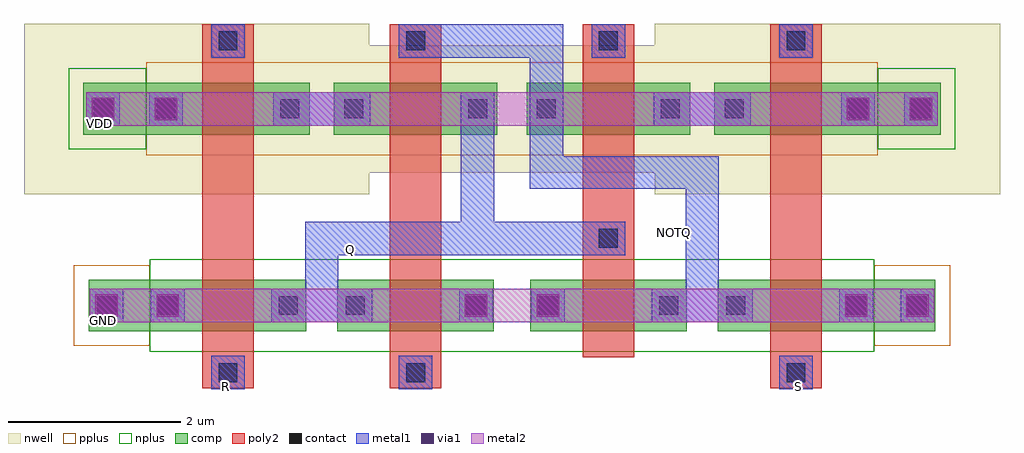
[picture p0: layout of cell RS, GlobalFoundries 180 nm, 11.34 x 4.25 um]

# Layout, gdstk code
from math import pi, radians
import gdstk
lib = gdstk.Library(unit=1e-6, precision=1e-09)
def R(c, l, rs):  # rectangles x0, y0, x1, y1
    for r in rs: c.add(gdstk.rectangle(r[:2], r[2:], *l))
nwell = (21, 0)
comp = (22, 0)
poly2 = (30, 0)
pplus = (31, 0)
nplus = (32, 0)
contact = (33, 0)
metal1 = (34, 0)
via1 = (35, 0)
metal2 = (36, 0)

nfet_1 = lib.new_cell('nfet$1')
R(nfet_1, comp, [(-0.42,0,0,0.6), (0,0,0.98,0.6), (0.98,0,1.4,0.6)])
R(nfet_1, poly2, [(0.19,-0.3,0.79,0.9), (0.19,0.9,0.79,1.26)])
R(nfet_1, nplus, [(-0.59,-0.24,1.57,0.84)])
R(nfet_1, contact, [(-0.32,0.19,-0.1,0.41), (1.08,0.19,1.3,0.41), (0.38,0.97,0.6,1.19)])
R(nfet_1, metal1, [(-0.4,0.109,-0.02,0.491), (1,0.109,1.38,0.491), (0.3,0.889,0.68,1.271)])

nfet = lib.new_cell('nfet')
R(nfet, comp, [(-0.42,0,0,0.6), (0,0,0.98,0.6), (0.98,0,1.4,0.6), (1.4,0,2.11,0.6)])
R(nfet, poly2, [(0.19,-0.3,0.79,0.9), (0.19,0.9,0.79,1.26)])
R(nfet, pplus, [(1.4,-0.17,2.28,0.77)])
R(nfet, nplus, [(-0.59,-0.24,1.4,0.84)])
R(nfet, contact, [(-0.32,0.19,-0.1,0.41), (1.08,0.19,1.3,0.41), (1.79,0.19,2.01,0.41), (0.38,0.97,0.6,1.19)])
R(nfet, metal1, [(-0.4,0.109,-0.02,0.491), (1,0.109,1.38,0.491), (1.71,0.109,2.09,0.491), (0.3,0.889,0.68,1.271)])

pfet_1 = lib.new_cell('pfet$1')
R(pfet_1, nwell, [(-1.15,-0.69,2.86,1.29)])
R(pfet_1, comp, [(-0.46,0,0,0.6), (0,0,0.98,0.6), (0.98,0,1.44,0.6), (1.44,0,2.17,0.6)])
R(pfet_1, poly2, [(0.19,-0.3,0.79,0.9), (0.19,0.9,0.79,1.28)])
R(pfet_1, pplus, [(-0.63,-0.24,1.44,0.84)])
R(pfet_1, nplus, [(1.44,-0.17,2.34,0.77)])
R(pfet_1, contact, [(-0.34,0.19,-0.12,0.41), (1.1,0.19,1.32,0.41), (1.83,0.19,2.05,0.41), (0.38,0.98,0.6,1.2)])
R(pfet_1, metal1, [(-0.42,0.109,-0.04,0.491), (1.02,0.109,1.4,0.491), (1.75,0.109,2.13,0.491), (0.3,0.899,0.68,1.281)])

pfet = lib.new_cell('pfet')
R(pfet, nwell, [(-0.9,-0.44,1.88,1.04)])
R(pfet, comp, [(-0.46,0,0,0.6), (0,0,0.98,0.6), (0.98,0,1.44,0.6)])
R(pfet, poly2, [(0.19,-0.3,0.79,0.9), (0.19,0.9,0.79,1.28)])
R(pfet, pplus, [(-0.63,-0.24,1.61,0.84)])
R(pfet, contact, [(-0.34,0.19,-0.12,0.41), (1.1,0.19,1.32,0.41), (0.38,0.98,0.6,1.2)])
R(pfet, metal1, [(-0.42,0.109,-0.04,0.491), (1.02,0.109,1.4,0.491), (0.3,0.899,0.68,1.281)])

pfet_2 = lib.new_cell('pfet$2')
R(pfet_2, nwell, [(-1.15,-0.69,2.86,1.29)])
R(pfet_2, comp, [(-0.46,0,0,0.6), (0,0,0.98,0.6), (0.98,0,1.44,0.6), (1.44,0,2.17,0.6)])
R(pfet_2, poly2, [(0.19,-0.3,0.79,0.9), (0.19,0.9,0.79,1.28)])
R(pfet_2, pplus, [(-0.63,-0.24,1.44,0.84)])
R(pfet_2, nplus, [(1.44,-0.17,2.34,0.77)])
R(pfet_2, contact, [(-0.34,0.19,-0.12,0.41), (1.1,0.19,1.32,0.41), (1.83,0.19,2.05,0.41), (0.38,0.98,0.6,1.2)])
R(pfet_2, metal1, [(-0.42,0.109,-0.04,0.491), (1.02,0.109,1.4,0.491), (1.75,0.109,2.13,0.491), (0.3,0.899,0.68,1.281)])

nfet_2 = lib.new_cell('nfet$2')
R(nfet_2, comp, [(-0.42,0,0,0.6), (0,0,0.98,0.6), (0.98,0,1.4,0.6)])
R(nfet_2, poly2, [(0.19,-0.66,0.79,-0.3), (0.19,-0.3,0.79,0.9)])
R(nfet_2, nplus, [(-0.59,-0.24,1.57,0.84)])
R(nfet_2, contact, [(0.38,-0.59,0.6,-0.37), (-0.32,0.19,-0.1,0.41), (1.08,0.19,1.3,0.41)])
R(nfet_2, metal1, [(0.3,-0.671,0.68,-0.289), (-0.4,0.109,-0.02,0.491), (1,0.109,1.38,0.491)])

c_rs = lib.new_cell('RS')
R(c_rs, poly2, [(0.435,-7.78,1.035,-6.445), (2.615,-7.78,3.215,-6.445), (4.855,-7.78,5.455,-6.445), (7.035,-7.78,7.635,-6.445)])
R(c_rs, nplus, [(-0.175,-8.715,8.245,-7.635), (4.075,-8.715,8.245,-7.635)])
R(c_rs, metal1, [(0.54,-9.15,0.93,-8.76), (2.72,-9.15,3.11,-8.76), (7.14,-9.15,7.53,-8.76), (-0.87,-8.37,-0.48,-7.98), (-0.16,-8.37,0.23,-7.98), (1.24,-8.37,2.41,-7.98), (3.42,-8.37,3.81,-7.98), (4.26,-8.37,4.65,-7.98), (5.66,-8.37,6.83,-7.98), (7.84,-8.37,8.23,-7.98), (8.55,-8.37,8.94,-7.98), (1.635,-7.59,5.35,-7.2), (3.44,-7.395,3.83,-5.695), (4.24,-6.82,4.63,-4.905), (-0.91,-6.085,-0.52,-5.695), (-0.18,-6.085,0.21,-5.695), (1.26,-6.085,2.39,-5.695), (5.68,-6.085,6.81,-5.695), (7.86,-6.085,8.25,-5.695), (8.59,-6.085,8.98,-5.695), (0.54,-5.295,0.93,-4.905), (2.72,-5.295,4.63,-4.905), (4.96,-5.295,5.35,-4.905), (7.14,-5.295,7.53,-4.905)])
R(c_rs, via1, [(-0.805,-8.305,-0.545,-8.045), (-0.095,-8.305,0.165,-8.045), (3.485,-8.305,3.745,-8.045), (4.325,-8.305,4.585,-8.045), (7.905,-8.305,8.165,-8.045), (8.615,-8.305,8.875,-8.045), (-0.845,-6.02,-0.585,-5.76), (-0.115,-6.02,0.145,-5.76), (7.925,-6.02,8.185,-5.76), (8.655,-6.02,8.915,-5.76)])
R(c_rs, metal2, [(-0.87,-8.37,4.89,-7.98), (4.26,-8.37,8.94,-7.98), (-0.91,-6.085,8.98,-5.695), (7.86,-6.085,8.98,-5.695)])
c_rs.add(gdstk.FlexPath([(4.24,-6.63),(6.245,-6.63),(6.245,-8.01)], 0.38, ends="flush", simple_path=True, layer=34, datatype=0))  # metal1
c_rs.add(gdstk.FlexPath([(3.83,-7.395),(1.825,-7.395),(1.825,-8.245)], 0.38, ends="flush", simple_path=True, layer=34, datatype=0))  # metal1
c_rs.add(gdstk.Reference(nfet_1, (3.405,-7.875), rotation=pi))
c_rs.add(gdstk.Reference(nfet, (1.225,-7.875), rotation=pi))
c_rs.add(gdstk.Reference(pfet_1, (1.225,-6.19), rotation=pi, x_reflection=True))
c_rs.add(gdstk.Reference(pfet, (4.665,-6.19)))
c_rs.add(gdstk.Reference(nfet, (6.845,-7.875), x_reflection=True))
c_rs.add(gdstk.Reference(pfet_2, (6.845,-6.19)))
c_rs.add(gdstk.Reference(nfet_2, (4.665,-7.875), x_reflection=True))
c_rs.add(gdstk.Reference(pfet, (2.425,-6.19)))
c_rs.add(gdstk.Label('GND', (-0.715,-8.345), layer=34, texttype=10))
c_rs.add(gdstk.Label('VDD', (-0.755,-6.065), layer=34, texttype=10))
c_rs.add(gdstk.Label('R', (0.71,-9.115), layer=34, texttype=10))
c_rs.add(gdstk.Label('S', (7.36,-9.115), layer=34, texttype=10))
c_rs.add(gdstk.Label('Q', (2.16,-7.52), layer=34, texttype=10))
c_rs.add(gdstk.Label('NOTQ', (5.91,-7.325), layer=34, texttype=10))

lib.write_gds('RS.gds')
